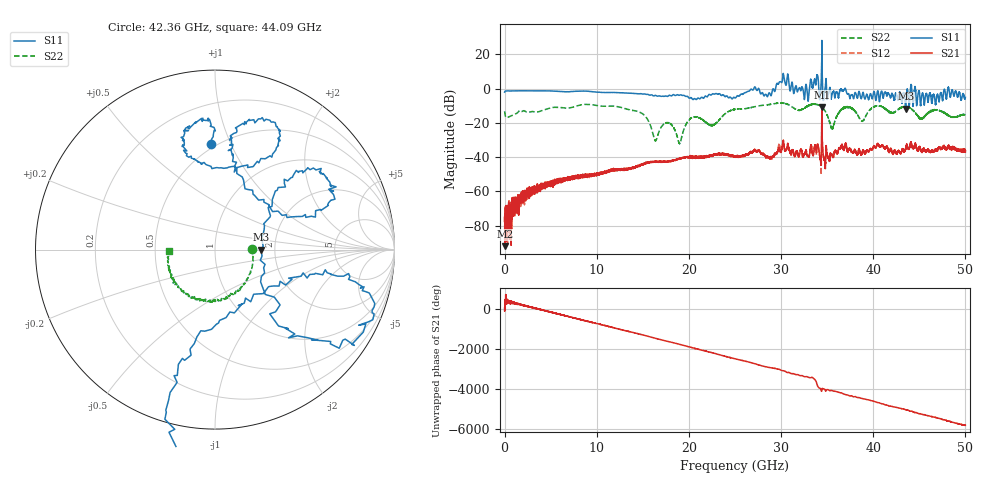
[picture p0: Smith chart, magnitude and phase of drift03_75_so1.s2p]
!Created with skrf (http://scikit-rf.org).
# Hz S RI R 50.0
!freq ReS11 ImS11 ReS21 ImS21 ReS12 ImS12 ReS22 ImS22
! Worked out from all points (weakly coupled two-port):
!   10000 points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, 5.3 MHz to 50 GHz, reference 50 ohm
!   highest |S21| = -10.93 dB at 34.43 GHz (marker M1); lowest = -92.0 dB at 75.3 MHz (marker M2)
!   lowest |S11| = -11.8 dB at 43.52 GHz (marker M3), VSWR 1.69, Z = 84.4 - j0.199 ohm
!   |S11| at or under -10 dB: 43.48404 GHz to 43.55545 GHz (71.41 MHz wide, 0.164 % of centre); 44.3102 GHz to 44.31791 GHz (7.716 MHz wide, 0.0174 % of centre); 44.32484 GHz to 44.32528 GHz (438.4 kHz wide, 0.000989 % of centre) (the widest 3 of 5)
!   |S22| runs from -32.2 to -8.4 dB; largest |S21 - S12| = 0.1
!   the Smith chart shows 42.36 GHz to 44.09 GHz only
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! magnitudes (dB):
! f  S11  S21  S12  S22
! 5.3 MHz  -2.1  -77.3  -75.0  -13.3
! 75.3 MHz  -1.5  -92.0  -75.4  -15.8
! 3.06 GHz  -1.4  -59.0  -59.8  -13.4
! 8.34 GHz  -1.5  -51.5  -50.9  -9.5
! 14.6 GHz  -3.1  -44.8  -45.2  -13.6
! 16.67 GHz  -4.4  -42.8  -42.7  -26.6
! 17.79 GHz  -4.3  -42.1  -42.2  -20.0
! 19 GHz  -3.9  -40.9  -41.0  -32.2
! 20.3 GHz  -5.6  -40.5  -39.6  -17.1
! 22.58 GHz  -3.1  -39.1  -39.4  -21.5
! 25.01 GHz  -5.5  -39.5  -39.6  -12.2
! 28.72 GHz  -2.5  -40.2  -40.2  -9.4
! 30.14 GHz  4.4  -33.5  -34.2  -8.5
! 32.74 GHz  2.0  -36.7  -36.5  -10.7
! 33.34 GHz  2.6  -35.2  -35.1  -9.3
! 34.43 GHz  28.0  -10.9  -13.4  -10.8
! 35.53 GHz  -3.4  -38.6  -39.0  -23.4
! 36.96 GHz  0.2  -33.1  -33.1  -11.3
! 38.78 GHz  -4.5  -37.5  -38.1  -19.1
! 41.67 GHz  -2.8  -36.7  -36.7  -13.3
! 43.52 GHz  -11.8  -34.8  -35.1  -10.7
! 50 GHz  -5.2  -37.1  -35.8  -15.4
